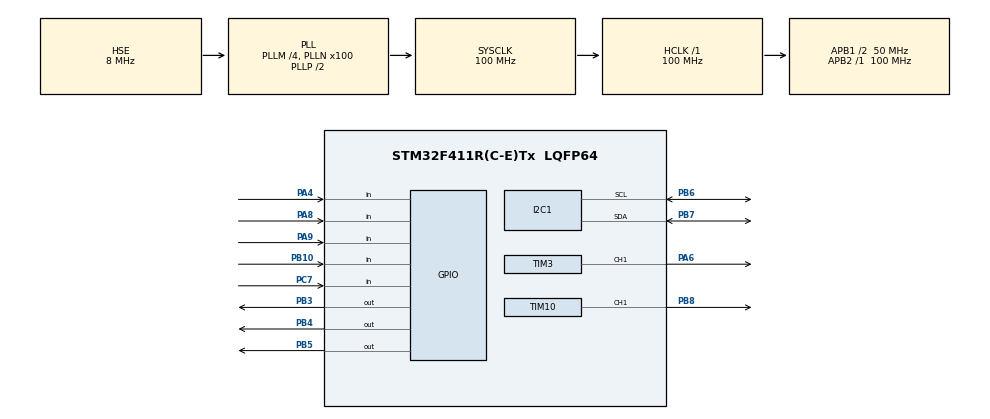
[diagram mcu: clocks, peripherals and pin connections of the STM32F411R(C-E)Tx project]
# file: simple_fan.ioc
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Mcu.Family=STM32F4
Mcu.Name=STM32F411R(C-E)Tx
Mcu.Package=LQFP64
NVIC.PriorityGroup=NVIC_PRIORITYGROUP_4
PA13.Mode=Serial_Wire
PA13.Signal=SYS_JTMS-SWDIO
PA14.Mode=Serial_Wire
PA14.Signal=SYS_JTCK-SWCLK
PA4.Signal=GPIO_Input
PA6.Signal=S_TIM3_CH1
PA8.Signal=GPIO_Input
PA9.Signal=GPIO_Input
PB10.Signal=GPIO_Input
PB3.Signal=GPIO_Output
PB4.GPIO_PuPd=GPIO_NOPULL
PB4.Signal=GPIO_Output
PB5.Signal=GPIO_Output
PB6.Mode=I2C
PB6.Signal=I2C1_SCL
PB7.Mode=I2C
PB7.Signal=I2C1_SDA
PB8.Signal=S_TIM10_CH1
PC7.Signal=GPIO_Input
PH0\ -\ OSC_IN.Mode=HSE-External-Oscillator
PH0\ -\ OSC_IN.Signal=RCC_OSC_IN
PH1\ -\ OSC_OUT.Mode=HSE-External-Oscillator
PH1\ -\ OSC_OUT.Signal=RCC_OSC_OUT
ProjectManager.HeapSize=0x200
ProjectManager.StackSize=0x400
ProjectManager.TargetToolchain=STM32CubeIDE
RCC.48MHZClocksFreq_Value=50000000
RCC.AHBFreq_Value=100000000
RCC.APB1CLKDivider=RCC_HCLK_DIV2
RCC.APB1Freq_Value=50000000
RCC.APB1TimFreq_Value=100000000
RCC.APB2Freq_Value=100000000
RCC.APB2TimFreq_Value=100000000
RCC.CortexFreq_Value=100000000
RCC.HCLKFreq_Value=100000000
RCC.HSE_VALUE=8000000
RCC.HSI_VALUE=16000000
RCC.LSE_VALUE=32768
RCC.PLLM=4
RCC.PLLN=100
RCC.PLLSourceVirtual=RCC_PLLSOURCE_HSE
RCC.SYSCLKFreq_VALUE=100000000
RCC.SYSCLKSource=RCC_SYSCLKSOURCE_PLLCLK
RCC.VCOOutputFreq_Value=200000000
SH.S_TIM10_CH1.0=TIM10_CH1,PWM Generation1 CH1
SH.S_TIM3_CH1.0=TIM3_CH1,PWM Generation1 CH1
TIM10.Channel=TIM_CHANNEL_1
TIM10.Period=1000-1
TIM10.Prescaler=2000-1
TIM3.Channel-PWM\ Generation1\ CH1=TIM_CHANNEL_1
TIM3.Period=1000-1
TIM3.Prescaler=100-1
TIM3.Pulse-PWM\ Generation1\ CH1=0
VP_TIM10_VS_ClockSourceINT.Mode=Enable_Timer
VP_TIM3_VS_ClockSourceINT.Mode=Internal
board=custom

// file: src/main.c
/* USER CODE BEGIN Header */
/**
  ******************************************************************************
  * @file           : main.c
  * @brief          : Main program body
  ******************************************************************************
  * @attention
  *
  * Copyright (c) 2023 STMicroelectronics.
  * All rights reserved.
  *
  * This software is licensed under terms that can be found in the LICENSE file
  * in the root directory of this software component.
  * If no LICENSE file comes with this software, it is provided AS-IS.
  *
  ******************************************************************************
  */
/* USER CODE END Header */
#include "main.h"
#include "i2c.h"
#include "tim.h"
#include "gpio.h"

/* USER CODE BEGIN Includes */
#include "I2C_LCD.h"
#include "LightStruct.h"
#include "Light_Button.h"
/* USER CODE END Includes */

/* USER CODE BEGIN PV */
char buff[20];
uint8_t flag = 0;
uint8_t togflag = 0;
uint8_t cnt=0;

uint8_t curState;
uint8_t prevState = 1;

enum buttonState{
	NOTPUSHED=1, PUSHED=0
};
/* USER CODE END PV */

void SystemClock_Config(void);

int main(void)
{
  /* USER CODE BEGIN 1 */
  Light_Switch led1;
  Light_Switch led2;
  Light_Switch led3;

  Light_Button btn1;
  Light_Button btn2;
  Light_Button btn3;
  Light_Button btn4;
  Light_Button btn5;
  /* USER CODE END 1 */

  /* MCU Configuration--------------------------------------------------------*/

  /* Reset of all peripherals, Initializes the Flash interface and the Systick. */
  HAL_Init();

  /* USER CODE BEGIN Init */
  light_init(&led1,GPIOB,GPIO_PIN_4);
  light_init(&led2,GPIOB,GPIO_PIN_5);
  light_init(&led3,GPIOB,GPIO_PIN_3);

  button_init(&btn1,GPIOC,GPIO_PIN_7);
  button_init(&btn2,GPIOA,GPIO_PIN_9);
  button_init(&btn3,GPIOA,GPIO_PIN_8);
  button_init(&btn4,GPIOB,GPIO_PIN_10);
  button_init(&btn5,GPIOA,GPIO_PIN_4);

  /* USER CODE END Init */

  /* Configure the system clock */
  SystemClock_Config();

  /* Initialize all configured peripherals */
  MX_GPIO_Init();
  MX_TIM3_Init();
  MX_I2C1_Init();
  MX_TIM10_Init();
  /* USER CODE BEGIN 2 */
  HAL_TIM_PWM_Start(&htim3, TIM_CHANNEL_1);
  HAL_TIM_PWM_Start(&htim10,TIM_CHANNEL_1);
  LCD_init();

  /* USER CODE END 2 */

  /* Infinite loop */
  /* USER CODE BEGIN WHILE */
  int flag = 0;	// on off state
  int i=50;
  int pmflag=0;
  while (1)
  {

	  sprintf(buff,"Simple Fan");
	  LCD_put_cursor(0, 0);
	  LCD_send_str(buff);
	  if(!(button(&btn1)))		//switch 1
	  {
		  led_off(&led1);
		  led_off(&led2);
		  led_off(&led3);
		  TIM3->CCR1 = 0;
		  HAL_Delay(5);
		  sprintf(buff,"Turn Off       ");
		  LCD_put_cursor(1, 0);
		  LCD_send_str(buff);
	  }
	  else if(!(button(&btn2)))	//switch 2
	  {
		  led_on(&led1);
		  led_off(&led2);
		  led_off(&led3);

		  TIM3->CCR1 = 350;
		  HAL_Delay(5);
		  sprintf(buff,"Speed : 35%       ");
		  LCD_put_cursor(1, 0);
		  LCD_send_str(buff);
	  }
	  else if(!(button(&btn3)))	//switch 3
	  {
		  led_off(&led1);
		  led_on(&led2);
		  led_off(&led3);
		  TIM3->CCR1 = 700;
		  HAL_Delay(5);
		  sprintf(buff,"Speed : 60%       ");
		  LCD_put_cursor(1, 0);
		  LCD_send_str(buff);
	  }
	  else if(!(button(&btn4)))	//switch 4
	  {
		  led_off(&led1);
		  led_off(&led2);
		  led_on(&led3);
		  TIM3->CCR1 = 1000;
		  HAL_Delay(5);
		  sprintf(buff,"Speed : 100%     ");
		  LCD_put_cursor(1, 0);
		  LCD_send_str(buff);
	  }
	  curState = button(&btn5);
	  if(curState == PUSHED && prevState == NOTPUSHED)
	  {
		  flag = !flag;
		  if(flag ==0)
		  {
			  sprintf(buff,"mode : normal ");

		  }
		  else
		  {
			  sprintf(buff,"mode : rotate ");
		  }
		  LCD_put_cursor(1, 0);
		  LCD_send_str(buff);

	  }
	  if(flag)
	  {
		TIM10-> CCR1 = i;
		if(pmflag ==0)
		{
			i++;

		}
		if(pmflag ==1)
		{
			i--;
		}

		if(pmflag ==0 && i==250)
		{
			pmflag =1;
		}
		else if (pmflag ==1 && i ==0)
		{
			pmflag =0;
		}
		prevState = 1;
	  }
    /* USER CODE END WHILE */

  }
}

void SystemClock_Config(void)
{
  RCC_OscInitTypeDef RCC_OscInitStruct = {0};
  RCC_ClkInitTypeDef RCC_ClkInitStruct = {0};

  /** Configure the main internal regulator output voltage
  */
  __HAL_RCC_PWR_CLK_ENABLE();
  __HAL_PWR_VOLTAGESCALING_CONFIG(PWR_REGULATOR_VOLTAGE_SCALE1);

  /** Initializes the RCC Oscillators according to the specified parameters
  * in the RCC_OscInitTypeDef structure.
  */
  RCC_OscInitStruct.OscillatorType = RCC_OSCILLATORTYPE_HSE;
  RCC_OscInitStruct.HSEState = RCC_HSE_ON;
  RCC_OscInitStruct.PLL.PLLState = RCC_PLL_ON;
  RCC_OscInitStruct.PLL.PLLSource = RCC_PLLSOURCE_HSE;
  RCC_OscInitStruct.PLL.PLLM = 4;
  RCC_OscInitStruct.PLL.PLLN = 100;
  RCC_OscInitStruct.PLL.PLLP = RCC_PLLP_DIV2;
  RCC_OscInitStruct.PLL.PLLQ = 4;
  if (HAL_RCC_OscConfig(&RCC_OscInitStruct) != HAL_OK)
  {
    Error_Handler();
  }

  /** Initializes the CPU, AHB and APB buses clocks
  */
  RCC_ClkInitStruct.ClockType = RCC_CLOCKTYPE_HCLK|RCC_CLOCKTYPE_SYSCLK
                              |RCC_CLOCKTYPE_PCLK1|RCC_CLOCKTYPE_PCLK2;
  RCC_ClkInitStruct.SYSCLKSource = RCC_SYSCLKSOURCE_PLLCLK;
  RCC_ClkInitStruct.AHBCLKDivider = RCC_SYSCLK_DIV1;
  RCC_ClkInitStruct.APB1CLKDivider = RCC_HCLK_DIV2;
  RCC_ClkInitStruct.APB2CLKDivider = RCC_HCLK_DIV1;

  if (HAL_RCC_ClockConfig(&RCC_ClkInitStruct, FLASH_LATENCY_3) != HAL_OK)
  {
    Error_Handler();
  }
}

void Error_Handler(void)
{
  __disable_irq();
  while (1)
  {
  }
}
